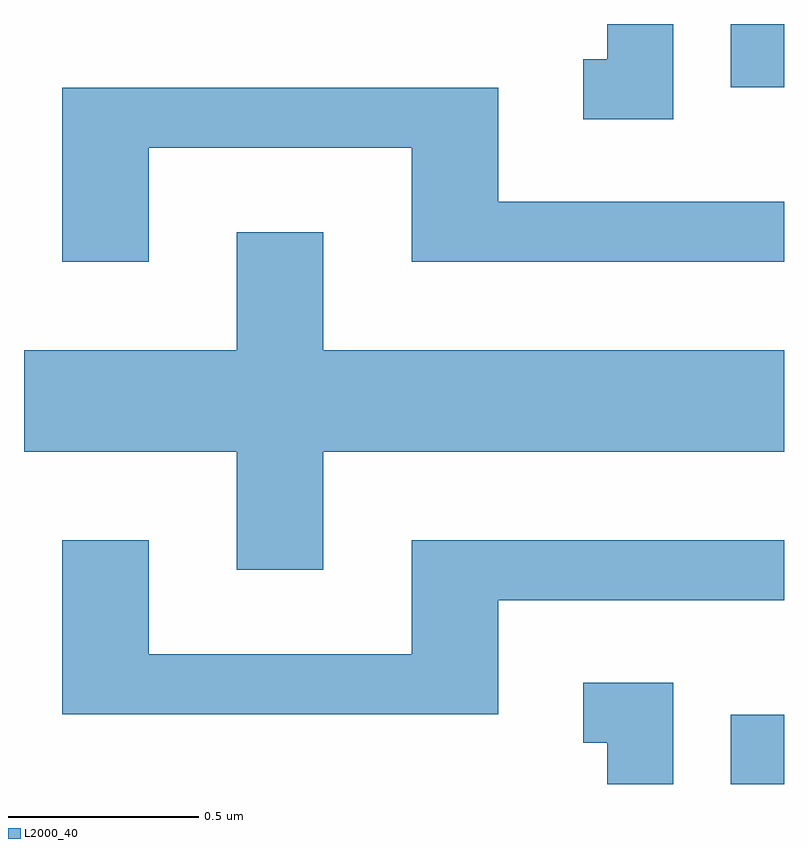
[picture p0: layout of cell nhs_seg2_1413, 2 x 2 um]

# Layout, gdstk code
import gdstk
lib = gdstk.Library(unit=1e-6, precision=1e-09)
def R(c, l, rs):  # rectangles x0, y0, x1, y1
    for r in rs: c.add(gdstk.rectangle(r[:2], r[2:], *l))
def P(c, l, *ps):  # polygons
    for p in ps: c.add(gdstk.Polygon(p, *l))
L2000_40 = (2000, 40)

nhs_seg2_1413 = lib.new_cell('nhs_seg2_1413')
R(nhs_seg2_1413, L2000_40, [(197.471,1020.802,197.611,1020.984), (197.471,1022.636,197.611,1022.802)])
P(nhs_seg2_1413, L2000_40, [(197.319,1022.802),(197.146,1022.802),(197.146,1022.709),(197.083,1022.709),(197.083,1022.551),(197.319,1022.551)],
  [(195.939,1022.476),(196.631,1022.476),(196.631,1022.176),(197.611,1022.176),(197.611,1022.334),(196.859,1022.334),(196.859,1022.634),(195.711,1022.634),(195.711,1022.176),(195.939,1022.176)],
  [(196.399,1021.676),(197.611,1021.676),(197.611,1021.944),(196.399,1021.944),(196.399,1022.254),(196.171,1022.254),(196.171,1021.944),(195.611,1021.944),(195.611,1021.676),(196.171,1021.676),(196.171,1021.366),(196.399,1021.366)],
  [(196.859,1021.286),(197.611,1021.286),(197.611,1021.444),(196.631,1021.444),(196.631,1021.144),(195.939,1021.144),(195.939,1021.444),(195.711,1021.444),(195.711,1020.986),(196.859,1020.986)],
  [(197.319,1021.069),(197.083,1021.069),(197.083,1020.911),(197.146,1020.911),(197.146,1020.802),(197.319,1020.802)])

lib.write_gds('nhs_seg2_1413.gds')
